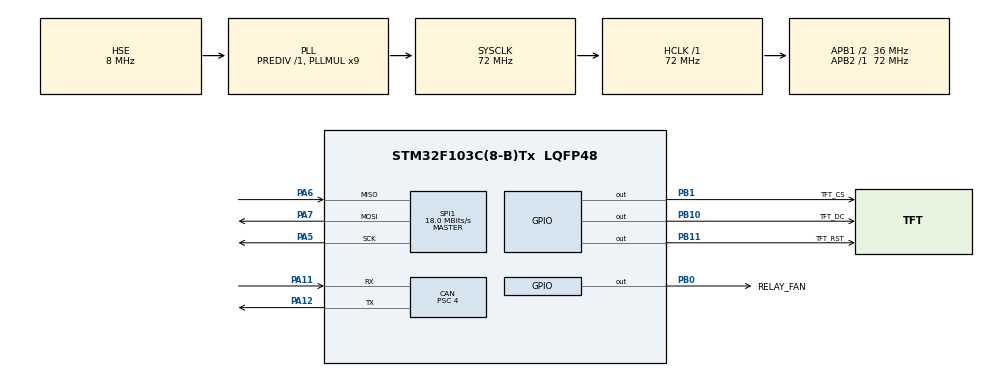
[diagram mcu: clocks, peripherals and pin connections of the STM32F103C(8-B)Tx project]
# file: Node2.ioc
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CAN.BS1=CAN_BS1_15TQ
CAN.BS2=CAN_BS2_2TQ
CAN.CalculateBaudRate=500000
CAN.CalculateTimeBit=2000
CAN.CalculateTimeQuantum=111.11111111111111
CAN.Prescaler=4
FREERTOS.INCLUDE_vTaskDelayUntil=1
FREERTOS.Tasks01=defaultTask,0,128,StartDefaultTask,Default,NULL,Dynamic,NULL,NULL
Mcu.Family=STM32F1
Mcu.Name=STM32F103C(8-B)Tx
Mcu.Package=LQFP48
NVIC.PriorityGroup=NVIC_PRIORITYGROUP_4
NVIC.TIM4_IRQn=true\:15\:0\:false\:false\:true\:false\:false\:true\:true
NVIC.TimeBase=TIM4_IRQn
NVIC.TimeBaseIP=TIM4
NVIC.USB_LP_CAN1_RX0_IRQn=true\:5\:0\:true\:false\:true\:true\:true\:true\:true
PA11.Mode=CAN_Activate
PA11.Signal=CAN_RX
PA12.Mode=CAN_Activate
PA12.Signal=CAN_TX
PA13.Mode=Serial_Wire
PA13.Signal=SYS_JTMS-SWDIO
PA14.Mode=Serial_Wire
PA14.Signal=SYS_JTCK-SWCLK
PA5.Mode=Full_Duplex_Master
PA5.Signal=SPI1_SCK
PA6.Mode=Full_Duplex_Master
PA6.Signal=SPI1_MISO
PA7.Mode=Full_Duplex_Master
PA7.Signal=SPI1_MOSI
PB0.GPIO_Label=RELAY_FAN
PB0.GPIO_Speed=GPIO_SPEED_FREQ_HIGH
PB0.PinState=GPIO_PIN_SET
PB0.Signal=GPIO_Output
PB1.GPIO_Label=TFT_CS
PB1.GPIO_Speed=GPIO_SPEED_FREQ_HIGH
PB1.PinState=GPIO_PIN_SET
PB1.Signal=GPIO_Output
PB10.GPIO_Label=TFT_DC
PB10.GPIO_Speed=GPIO_SPEED_FREQ_HIGH
PB10.Signal=GPIO_Output
PB11.GPIO_Label=TFT_RST
PB11.GPIO_Speed=GPIO_SPEED_FREQ_HIGH
PB11.PinState=GPIO_PIN_SET
PB11.Signal=GPIO_Output
PD0-OSC_IN.Mode=HSE-External-Oscillator
PD0-OSC_IN.Signal=RCC_OSC_IN
PD1-OSC_OUT.Mode=HSE-External-Oscillator
PD1-OSC_OUT.Signal=RCC_OSC_OUT
ProjectManager.HeapSize=0x200
ProjectManager.StackSize=0x400
ProjectManager.TargetToolchain=MDK-ARM V5.32
RCC.AHBFreq_Value=72000000
RCC.APB1CLKDivider=RCC_HCLK_DIV2
RCC.APB1Freq_Value=36000000
RCC.APB1TimFreq_Value=72000000
RCC.APB2Freq_Value=72000000
RCC.APB2TimFreq_Value=72000000
RCC.HCLKFreq_Value=72000000
RCC.PLLMUL=RCC_PLL_MUL9
RCC.PLLSourceVirtual=RCC_PLLSOURCE_HSE
RCC.SYSCLKFreq_VALUE=72000000
RCC.SYSCLKSource=RCC_SYSCLKSOURCE_PLLCLK
RCC.USBFreq_Value=72000000
SPI1.BaudRatePrescaler=SPI_BAUDRATEPRESCALER_4
SPI1.CalculateBaudRate=18.0 MBits/s
SPI1.Direction=SPI_DIRECTION_2LINES
SPI1.Mode=SPI_MODE_MASTER
SPI1.VirtualType=VM_MASTER
VP_FREERTOS_VS_CMSIS_V1.Mode=CMSIS_V1
VP_SYS_VS_tim4.Mode=TIM4
board=custom

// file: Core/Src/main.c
/* USER CODE BEGIN Header */
/*
 * Node 2: CAN reception + ST7735 display
 *
 * TFT initialization:
 *   main(), before CAN and FreeRTOS scheduler.
 *
 * CAN:
 *   Standard ID 0x100, DLC 4
 *   Byte 0: temperature
 *   Byte 1: humidity
 *   Byte 2: gas high byte
 *   Byte 3: gas low byte
 *
 * Only Task_Actuator updates TFT after scheduler starts.
 */
/* USER CODE END Header */

#include "main.h"
#include "cmsis_os.h"

/* USER CODE BEGIN Includes */
#include "FreeRTOS.h"
#include "task.h"
#include "queue.h"
#include "TFT.h"
#include <stdio.h>
/* USER CODE END Includes */

/* USER CODE BEGIN PTD */
typedef struct
{
    uint8_t fan_state;
    uint8_t temperature;
    uint8_t humidity;
    uint16_t gas_level;
} ActuatorCommand_t;
/* USER CODE END PTD */

CAN_HandleTypeDef hcan;
SPI_HandleTypeDef hspi1;

/* USER CODE BEGIN PV */
QueueHandle_t xActuatorQueue = NULL;
TaskHandle_t xTaskActuatorHandle = NULL;

volatile ActuatorCommand_t g_node2Debug = {0};

/* CAN debug */
volatile uint32_t g_canStage = 0;
volatile uint32_t g_taskLoops = 0;
volatile uint32_t g_canRxCount = 0;
volatile uint32_t g_canProcessedCount = 0;
volatile uint32_t g_canQueueFullCount = 0;
volatile uint32_t g_canInvalidCount = 0;
volatile uint32_t g_canReadErrorCount = 0;
volatile uint32_t g_canError = 0;

/*
 * TFT:
 * 0  = not initialized
 * 1  = initialization in progress
 * 2  = waiting screen drawn
 * 3  = CAN data drawn
 * 99 = SPI error
 */
volatile uint32_t g_tftStage = 0;

/*
 * Fatal error:
 * 0  = no fatal error
 * 1  = oscillator configuration
 * 2  = clock configuration
 * 3  = SPI initialization
 * 4  = CAN initialization
 * 5  = queue allocation
 * 6  = task allocation
 * 7  = scheduler returned unexpectedly
 * 8  = CAN filter configuration
 * 9  = CAN start
 * 10 = CAN notification activation
 */
volatile uint32_t g_errorCode = 0;

/* Defined in TFT.c */
extern volatile uint32_t g_tftSPIErrors;
extern volatile uint32_t g_tftSPIStatus;
extern volatile uint32_t g_tftSPIHalError;
/* USER CODE END PV */

void SystemClock_Config(void);
static void MX_GPIO_Init(void);
static void MX_CAN_Init(void);
static void MX_SPI1_Init(void);

/* USER CODE BEGIN PFP */
void Task_Actuator(void *pvParameters);

static void TFT_DrawInitialScreen(void);
static void TFT_UpdateValues(const ActuatorCommand_t *cmd);
/* USER CODE END PFP */

/* USER CODE BEGIN 0 */

static void TFT_DrawInitialScreen(void)
{
    g_tftStage = 1;

    /* Initialize exactly once, before scheduler starts. */
    initTFT(&hspi1);

    if (g_tftSPIErrors != 0U)
    {
        g_tftStage = 99;
        return;
    }

    fullDisplay(TFT_BLACK);

    drawString(5, 5, "NODE 2 - CAN",
               Font_7x10, TFT_YELLOW, TFT_BLACK);

    drawLine(0, 22, 127, 22, TFT_WHITE);
drawString(5, 35, "TEMP: --- C",
               Font_7x10, TFT_CYAN, TFT_BLACK);

    drawString(5, 55, "HUM : --- %",
               Font_7x10, TFT_CYAN, TFT_BLACK);

    drawString(5, 75, "GAS : -----",
               Font_7x10, TFT_WHITE, TFT_BLACK);

    drawString(5, 95, "FAN : ---",
               Font_7x10, TFT_WHITE, TFT_BLACK);

    drawString(5, 125, "WAIT CAN... ",
               Font_7x10, TFT_YELLOW, TFT_BLACK);

    g_tftStage = (g_tftSPIErrors == 0U) ? 2U : 99U;
}

static void TFT_UpdateValues(const ActuatorCommand_t *cmd)
{
    char text[24];

    if (g_tftSPIErrors != 0U)
    {
        g_tftStage = 99;
        return;
    }

    /*
     * Fixed field widths overwrite previous digits.
     * Do not clear the whole screen on each CAN message.
     */
    snprintf(text, sizeof(text), "TEMP: %3u C",
             (unsigned int)cmd->temperature);

    drawString(5, 35, text,
               Font_7x10, TFT_CYAN, TFT_BLACK);

    snprintf(text, sizeof(text), "HUM : %3u %%",
             (unsigned int)cmd->humidity);

    drawString(5, 55, text,
               Font_7x10, TFT_CYAN, TFT_BLACK);

    snprintf(text, sizeof(text), "GAS : %5u",
             (unsigned int)cmd->gas_level);

    drawString(5, 75, text,
               Font_7x10, TFT_WHITE, TFT_BLACK);

    if (cmd->fan_state != 0U)
    {
        drawString(5, 95, "FAN : ON ",
                   Font_7x10, TFT_RED, TFT_BLACK);
    }
    else
    {
        drawString(5, 95, "FAN : OFF",
                   Font_7x10, TFT_GREEN, TFT_BLACK);
    }

    drawString(5, 125, "CAN RX OK   ",
               Font_7x10, TFT_GREEN, TFT_BLACK);

    g_tftStage = (g_tftSPIErrors == 0U) ? 3U : 99U;
}

/* USER CODE END 0 */

int main(void)
{
    HAL_Init();
    SystemClock_Config();

    MX_GPIO_Init();
    MX_SPI1_Init();

    /* USER CODE BEGIN 2 */

    /*
     * Keep the initialization order that displayed
     * Hello World successfully in your latest test.
     */
    TFT_DrawInitialScreen();

    /* Initialize CAN only after TFT is ready. */
    MX_CAN_Init();

    /* USER CODE END 2 */

    /* USER CODE BEGIN RTOS_QUEUES */
    xActuatorQueue = xQueueCreate(5, sizeof(ActuatorCommand_t));

    if (xActuatorQueue == NULL)
    {
        g_errorCode = 5;
        Error_Handler();
    }
    /* USER CODE END RTOS_QUEUES */

    /* USER CODE BEGIN RTOS_THREADS */
    if (xTaskCreate(Task_Actuator,
                    "CAN_TFT_Task",
                    512,
                    NULL,
                    2,
                    &xTaskActuatorHandle) != pdPASS)
    {
        g_errorCode = 6;
        Error_Handler();
    }
    /* USER CODE END RTOS_THREADS */

    osKernelStart();

    /* USER CODE BEGIN WHILE */
    /* Successful scheduler start does not return. */
    g_errorCode = 7;
    Error_Handler();

    while (1)
    {
    }
    /* USER CODE END WHILE */
}

void SystemClock_Config(void)
{
    RCC_OscInitTypeDef RCC_OscInitStruct = {0};
    RCC_ClkInitTypeDef RCC_ClkInitStruct = {0};
/* Same clock configuration as your working Node 2. */
    RCC_OscInitStruct.OscillatorType = RCC_OSCILLATORTYPE_HSE;
    RCC_OscInitStruct.HSEState = RCC_HSE_ON;
    RCC_OscInitStruct.HSEPredivValue = RCC_HSE_PREDIV_DIV1;
    RCC_OscInitStruct.HSIState = RCC_HSI_ON;
    RCC_OscInitStruct.PLL.PLLState = RCC_PLL_ON;
    RCC_OscInitStruct.PLL.PLLSource = RCC_PLLSOURCE_HSE;
    RCC_OscInitStruct.PLL.PLLMUL = RCC_PLL_MUL9;

    if (HAL_RCC_OscConfig(&RCC_OscInitStruct) != HAL_OK)
    {
        g_errorCode = 1;
        Error_Handler();
    }

    RCC_ClkInitStruct.ClockType =
        RCC_CLOCKTYPE_HCLK |
        RCC_CLOCKTYPE_SYSCLK |
        RCC_CLOCKTYPE_PCLK1 |
        RCC_CLOCKTYPE_PCLK2;

    RCC_ClkInitStruct.SYSCLKSource = RCC_SYSCLKSOURCE_PLLCLK;
    RCC_ClkInitStruct.AHBCLKDivider = RCC_SYSCLK_DIV1;
    RCC_ClkInitStruct.APB1CLKDivider = RCC_HCLK_DIV2;
    RCC_ClkInitStruct.APB2CLKDivider = RCC_HCLK_DIV1;

    if (HAL_RCC_ClockConfig(&RCC_ClkInitStruct,
                           FLASH_LATENCY_2) != HAL_OK)
    {
        g_errorCode = 2;
        Error_Handler();
    }
}

static void MX_CAN_Init(void)
{

    hcan.Instance = CAN1;

    /* 36 MHz / (4 * (1 + 15 + 2)) = 500 kbit/s. */
    hcan.Init.Prescaler = 4;
    hcan.Init.Mode = CAN_MODE_NORMAL;
    hcan.Init.SyncJumpWidth = CAN_SJW_1TQ;
    hcan.Init.TimeSeg1 = CAN_BS1_15TQ;
    hcan.Init.TimeSeg2 = CAN_BS2_2TQ;

    hcan.Init.TimeTriggeredMode = DISABLE;
    hcan.Init.AutoBusOff = DISABLE;
    hcan.Init.AutoWakeUp = DISABLE;
    hcan.Init.AutoRetransmission = DISABLE;
    hcan.Init.ReceiveFifoLocked = DISABLE;
    hcan.Init.TransmitFifoPriority = DISABLE;

    if (HAL_CAN_Init(&hcan) != HAL_OK)
    {
        g_canError = HAL_CAN_GetError(&hcan);
        g_errorCode = 4;
        Error_Handler();
    }

}

static void MX_SPI1_Init(void)
{

    /* Same SPI configuration as your working TFT test. */
    hspi1.Instance = SPI1;
    hspi1.Init.Mode = SPI_MODE_MASTER;
    hspi1.Init.Direction = SPI_DIRECTION_2LINES;
    hspi1.Init.DataSize = SPI_DATASIZE_8BIT;
    hspi1.Init.CLKPolarity = SPI_POLARITY_LOW;
    hspi1.Init.CLKPhase = SPI_PHASE_1EDGE;
    hspi1.Init.NSS = SPI_NSS_SOFT;

    /* 72 MHz / 32 = 2.25 MHz. */
    hspi1.Init.BaudRatePrescaler = SPI_BAUDRATEPRESCALER_32;

    hspi1.Init.FirstBit = SPI_FIRSTBIT_MSB;
    hspi1.Init.TIMode = SPI_TIMODE_DISABLE;
    hspi1.Init.CRCCalculation = SPI_CRCCALCULATION_DISABLE;
    hspi1.Init.CRCPolynomial = 10;

    if (HAL_SPI_Init(&hspi1) != HAL_OK)
    {
        g_errorCode = 3;
        Error_Handler();
    }

}

static void MX_GPIO_Init(void)
{
    GPIO_InitTypeDef GPIO_InitStruct = {0};

    /* Preserve GPIO configuration from your working file. */
    __HAL_RCC_GPIOD_CLK_ENABLE();
    __HAL_RCC_GPIOA_CLK_ENABLE();
    __HAL_RCC_GPIOB_CLK_ENABLE();

    HAL_GPIO_WritePin(GPIOB,
                      RELAY_FAN_Pin | TFT_CS_Pin | TFT_RST_Pin,
                      GPIO_PIN_SET);

    HAL_GPIO_WritePin(TFT_DC_GPIO_Port,
                      TFT_DC_Pin,
                      GPIO_PIN_RESET);

    GPIO_InitStruct.Pin =
        RELAY_FAN_Pin |
        TFT_CS_Pin |
        TFT_DC_Pin |
        TFT_RST_Pin;

    GPIO_InitStruct.Mode = GPIO_MODE_OUTPUT_PP;
    GPIO_InitStruct.Pull = GPIO_NOPULL;
    GPIO_InitStruct.Speed = GPIO_SPEED_FREQ_HIGH;

    HAL_GPIO_Init(GPIOB, &GPIO_InitStruct);

}

/* USER CODE BEGIN 4 */

void HAL_CAN_RxFifo0MsgPendingCallback(CAN_HandleTypeDef *hcan)
{
    CAN_RxHeaderTypeDef rxHeader;
    uint8_t rxData[8];
    ActuatorCommand_t cmd = {0};
    BaseType_t taskWoken = pdFALSE;

    if (hcan->Instance != CAN1)
    {
        return;
    }

    /*
     * ISR only reads CAN and queues data.
     * Never draw TFT or call HAL_Delay here.
     */
    while (HAL_CAN_GetRxFifoFillLevel(hcan, CAN_RX_FIFO0) > 0U)
    {
        if (HAL_CAN_GetRxMessage(hcan,
                                CAN_RX_FIFO0,
                                &rxHeader,
                                rxData) != HAL_OK)
        {
            g_canReadErrorCount++;
            break;
        }

        if (rxHeader.IDE != CAN_ID_STD ||
            rxHeader.RTR != CAN_RTR_DATA ||
            rxHeader.StdId != 0x100U ||
            rxHeader.DLC != 4U)
        {
            g_canInvalidCount++;
            continue;
        }

        cmd.temperature = rxData[0];
        cmd.humidity = rxData[1];

        cmd.gas_level =
            ((uint16_t)rxData[2] << 8) |
            (uint16_t)rxData[3];

        /* Display/debug only; no relay GPIO writes. */
        cmd.fan_state = (cmd.gas_level > 1500U) ? 1U : 0U;

        g_canRxCount++;

        if (xActuatorQueue != NULL)
        {
            if (xQueueSendFromISR(xActuatorQueue,
                                 &cmd,
                                 &taskWoken) != pdPASS)
            {
                g_canQueueFullCount++;
            }
        }
    }

    portYIELD_FROM_ISR(taskWoken);
}

void Task_Actuator(void *pvParameters)
{
    CAN_FilterTypeDef filter = {0};
    ActuatorCommand_t cmd;

    (void)pvParameters;

    /*
     * TFT has already been initialized in main().
     * Do not call initTFT() again here.
     */
    g_canStage = 1;

    filter.FilterBank = 0;
    filter.FilterMode = CAN_FILTERMODE_IDMASK;
    filter.FilterScale = CAN_FILTERSCALE_32BIT;

    /* Receive all frames; validate ID/DLC in callback. */
    filter.FilterIdHigh = 0;
    filter.FilterIdLow = 0;
    filter.FilterMaskIdHigh = 0;
    filter.FilterMaskIdLow = 0;
filter.FilterFIFOAssignment = CAN_RX_FIFO0;
    filter.FilterActivation = ENABLE;
    filter.SlaveStartFilterBank = 14;

    if (HAL_CAN_ConfigFilter(&hcan, &filter) != HAL_OK)
    {
        g_canError = HAL_CAN_GetError(&hcan);
        g_errorCode = 8;
        Error_Handler();
    }

    if (HAL_CAN_Start(&hcan) != HAL_OK)
    {
        g_canError = HAL_CAN_GetError(&hcan);
        g_errorCode = 9;
        Error_Handler();
    }

    /*
     * Queue exists and scheduler is running before
     * enabling CAN RX notification.
     */
    if (HAL_CAN_ActivateNotification(
            &hcan, CAN_IT_RX_FIFO0_MSG_PENDING) != HAL_OK)
    {
        g_canError = HAL_CAN_GetError(&hcan);
        g_errorCode = 10;
        Error_Handler();
    }

    g_canStage = 2;

    for (;;)
    {
        if (xQueueReceive(xActuatorQueue,
                          &cmd,
                          pdMS_TO_TICKS(1000)) == pdPASS)
        {
            /* Update debug data even if TFT reports an error. */
            g_node2Debug = cmd;
            g_canProcessedCount++;

            TFT_UpdateValues(&cmd);
        }

        g_taskLoops++;
        g_canError = HAL_CAN_GetError(&hcan);
    }
}

void HAL_TIM_PeriodElapsedCallback(TIM_HandleTypeDef *htim)
{
    /*
     * TIM4 is the HAL timebase in this Node 2 project.
     * Preserve it for HAL_Delay and HAL SPI timeouts.
     */
    if (htim->Instance == TIM4)
    {
        HAL_IncTick();
    }
}

/* USER CODE END 4 */

void Error_Handler(void)
{
    /* USER CODE BEGIN Error_Handler_Debug */
    __disable_irq();

    while (1)
    {
        /* Inspect g_errorCode in Watch. */
    }
    /* USER CODE END Error_Handler_Debug */
}

#ifdef USE_FULL_ASSERT
void assert_failed(uint8_t *file, uint32_t line)
{
    /* USER CODE BEGIN 6 */
    (void)file;
    (void)line;
    /* USER CODE END 6 */
}
#endif
